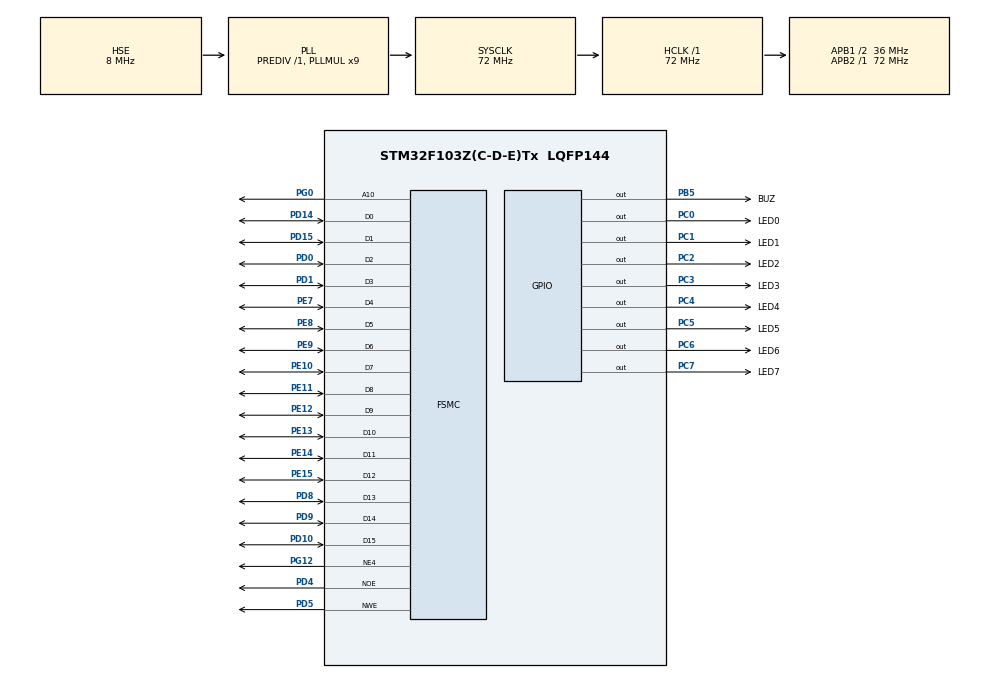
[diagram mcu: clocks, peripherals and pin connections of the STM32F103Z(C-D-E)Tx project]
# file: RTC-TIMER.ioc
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FSMC.AddressSetupTime1=0x1
FSMC.BusTurnAroundDuration1=0x0
FSMC.DataSetupTime1=0xf
FSMC.ExtendedAddressSetupTime1=0x0
FSMC.ExtendedBusTurnAroundDuration1=0x0
FSMC.ExtendedDataSetupTime1=0x3
FSMC.ExtendedMode1=FSMC_EXTENDED_MODE_ENABLE
Mcu.Family=STM32F1
Mcu.Name=STM32F103Z(C-D-E)Tx
Mcu.Package=LQFP144
NVIC.PriorityGroup=NVIC_PRIORITYGROUP_4
NVIC.RTC_Alarm_IRQn=true\:0\:0\:false\:false\:true\:true\:true
NVIC.RTC_IRQn=true\:0\:0\:false\:false\:true\:true\:true
NVIC.TIM2_IRQn=true\:0\:0\:false\:false\:true\:true\:true
OSC_IN.Mode=HSE-External-Oscillator
OSC_IN.Signal=RCC_OSC_IN
OSC_OUT.Mode=HSE-External-Oscillator
OSC_OUT.Signal=RCC_OSC_OUT
PA13.Mode=Serial_Wire
PA13.Signal=SYS_JTMS-SWDIO
PA14.Mode=Serial_Wire
PA14.Signal=SYS_JTCK-SWCLK
PB5.GPIO_Label=BUZ
PB5.PinState=GPIO_PIN_RESET
PB5.Signal=GPIO_Output
PC0.GPIO_Label=LED0
PC0.GPIO_ModeDefaultOutputPP=GPIO_MODE_OUTPUT_PP
PC0.GPIO_PuPd=GPIO_NOPULL
PC0.GPIO_Speed=GPIO_SPEED_FREQ_LOW
PC0.PinState=GPIO_PIN_SET
PC0.Signal=GPIO_Output
PC1.GPIO_Label=LED1
PC1.GPIO_ModeDefaultOutputPP=GPIO_MODE_OUTPUT_PP
PC1.GPIO_PuPd=GPIO_NOPULL
PC1.GPIO_Speed=GPIO_SPEED_FREQ_LOW
PC1.PinState=GPIO_PIN_SET
PC1.Signal=GPIO_Output
PC14-OSC32_IN.Mode=LSE-External-Oscillator
PC14-OSC32_IN.Signal=RCC_OSC32_IN
PC15-OSC32_OUT.Mode=LSE-External-Oscillator
PC15-OSC32_OUT.Signal=RCC_OSC32_OUT
PC2.GPIO_Label=LED2
PC2.GPIO_ModeDefaultOutputPP=GPIO_MODE_OUTPUT_PP
PC2.GPIO_PuPd=GPIO_NOPULL
PC2.GPIO_Speed=GPIO_SPEED_FREQ_LOW
PC2.PinState=GPIO_PIN_SET
PC2.Signal=GPIO_Output
PC3.GPIO_Label=LED3
PC3.GPIO_ModeDefaultOutputPP=GPIO_MODE_OUTPUT_PP
PC3.GPIO_PuPd=GPIO_NOPULL
PC3.GPIO_Speed=GPIO_SPEED_FREQ_LOW
PC3.PinState=GPIO_PIN_SET
PC3.Signal=GPIO_Output
PC4.GPIO_Label=LED4
PC4.GPIO_ModeDefaultOutputPP=GPIO_MODE_OUTPUT_PP
PC4.GPIO_PuPd=GPIO_NOPULL
PC4.GPIO_Speed=GPIO_SPEED_FREQ_LOW
PC4.PinState=GPIO_PIN_SET
PC4.Signal=GPIO_Output
PC5.GPIO_Label=LED5
PC5.GPIO_ModeDefaultOutputPP=GPIO_MODE_OUTPUT_PP
PC5.GPIO_PuPd=GPIO_NOPULL
PC5.GPIO_Speed=GPIO_SPEED_FREQ_LOW
PC5.PinState=GPIO_PIN_SET
PC5.Signal=GPIO_Output
PC6.GPIO_Label=LED6
PC6.GPIO_ModeDefaultOutputPP=GPIO_MODE_OUTPUT_PP
PC6.GPIO_PuPd=GPIO_NOPULL
PC6.GPIO_Speed=GPIO_SPEED_FREQ_LOW
PC6.PinState=GPIO_PIN_SET
PC6.Signal=GPIO_Output
PC7.GPIO_Label=LED7
PC7.GPIO_ModeDefaultOutputPP=GPIO_MODE_OUTPUT_PP
PC7.GPIO_PuPd=GPIO_NOPULL
PC7.GPIO_Speed=GPIO_SPEED_FREQ_LOW
PC7.PinState=GPIO_PIN_SET
PC7.Signal=GPIO_Output
PD0.Signal=FSMC_D2_DA2
PD1.Signal=FSMC_D3_DA3
PD10.Signal=FSMC_D15_DA15
PD14.Signal=FSMC_D0_DA0
PD15.Signal=FSMC_D1_DA1
PD4.Signal=FSMC_NOE
PD5.Signal=FSMC_NWE
PD8.Signal=FSMC_D13_DA13
PD9.Signal=FSMC_D14_DA14
PE10.Signal=FSMC_D7_DA7
PE11.Signal=FSMC_D8_DA8
PE12.Signal=FSMC_D9_DA9
PE13.Signal=FSMC_D10_DA10
PE14.Signal=FSMC_D11_DA11
PE15.Signal=FSMC_D12_DA12
PE7.Signal=FSMC_D4_DA4
PE8.Signal=FSMC_D5_DA5
PE9.Signal=FSMC_D6_DA6
PG0.Signal=FSMC_A10
PG12.Mode=NorPsramChipSelect4_1
PG12.Signal=FSMC_NE4
ProjectManager.HeapSize=0x200
ProjectManager.StackSize=0x400
ProjectManager.TargetToolchain=MDK-ARM V5.27
RCC.AHBFreq_Value=72000000
RCC.APB1CLKDivider=RCC_HCLK_DIV2
RCC.APB1Freq_Value=36000000
RCC.APB1TimFreq_Value=72000000
RCC.APB2Freq_Value=72000000
RCC.APB2TimFreq_Value=72000000
RCC.HCLKFreq_Value=72000000
RCC.PLLMUL=RCC_PLL_MUL9
RCC.PLLSourceVirtual=RCC_PLLSOURCE_HSE
RCC.RTCClockSelection=RCC_RTCCLKSOURCE_LSE
RCC.SYSCLKFreq_VALUE=72000000
RCC.SYSCLKSource=RCC_SYSCLKSOURCE_PLLCLK
RCC.USBFreq_Value=72000000
RTC.AutoPrediv=RTC_AUTO_1_SECOND
RTC.Date=28
RTC.Format=RTC_FORMAT_BIN
RTC.Hours=14
RTC.Minutes=51
RTC.Month=RTC_MONTH_MARCH
RTC.Seconds=59
RTC.WeekDay=RTC_WEEKDAY_FRIDAY
RTC.Year=20
SH.FSMC_A10.0=FSMC_A10,A10_1
SH.FSMC_D0_DA0.0=FSMC_D0,16b-d1
SH.FSMC_D10_DA10.0=FSMC_D10,16b-d1
SH.FSMC_D11_DA11.0=FSMC_D11,16b-d1
SH.FSMC_D12_DA12.0=FSMC_D12,16b-d1
SH.FSMC_D13_DA13.0=FSMC_D13,16b-d1
SH.FSMC_D14_DA14.0=FSMC_D14,16b-d1
SH.FSMC_D15_DA15.0=FSMC_D15,16b-d1
SH.FSMC_D1_DA1.0=FSMC_D1,16b-d1
SH.FSMC_D2_DA2.0=FSMC_D2,16b-d1
SH.FSMC_D3_DA3.0=FSMC_D3,16b-d1
SH.FSMC_D4_DA4.0=FSMC_D4,16b-d1
SH.FSMC_D5_DA5.0=FSMC_D5,16b-d1
SH.FSMC_D6_DA6.0=FSMC_D6,16b-d1
SH.FSMC_D7_DA7.0=FSMC_D7,16b-d1
SH.FSMC_D8_DA8.0=FSMC_D8,16b-d1
SH.FSMC_D9_DA9.0=FSMC_D9,16b-d1
SH.FSMC_NOE.0=FSMC_NOE,Lcd1
SH.FSMC_NWE.0=FSMC_NWE,Lcd1
TIM2.AutoReloadPreload=TIM_AUTORELOAD_PRELOAD_ENABLE
TIM2.Period=720-1
TIM2.Prescaler=1000-1
VP_RTC_No_RTC_Output.Mode=RTC_OUT_NO
VP_RTC_VS_RTC_Activate.Mode=RTC_Enabled
VP_RTC_VS_RTC_Calendar.Mode=RTC_Calendar
VP_TIM2_VS_ClockSourceINT.Mode=Internal
board=custom

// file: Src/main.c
/* USER CODE BEGIN Header */
/**
  ******************************************************************************
  * @file           : main.c
  * @brief          : Main program body
  ******************************************************************************
  * @attention
  *
  * <h2><center>&copy; Copyright (c) 2020 STMicroelectronics.
  * All rights reserved.</center></h2>
  *
  * This software component is licensed by ST under BSD 3-Clause license,
  * the "License"; You may not use this file except in compliance with the
  * License. You may obtain a copy of the License at:
  *                        opensource.org/licenses/BSD-3-Clause
  *
  ******************************************************************************
  */
/* USER CODE END Header */

#include "main.h"
#include "rtc.h"
#include "tim.h"
#include "gpio.h"
#include "fsmc.h"

/* USER CODE BEGIN Includes */
#include "user_lcd.h"
#include "user_rtc.h"

/* USER CODE END Includes */

/* USER CODE BEGIN PV */
uint8_t beepFlag = 0;
/* USER CODE END PV */

void SystemClock_Config(void);

int main(void)
{

  /* MCU Configuration--------------------------------------------------------*/

  /* Reset of all peripherals, Initializes the Flash interface and the Systick. */
  HAL_Init();

  /* Configure the system clock */
  SystemClock_Config();

  /* Initialize all configured peripherals */
  MX_GPIO_Init();
  MX_FSMC_Init();
  MX_TIM2_Init();
  MX_RTC_Init();
  /* USER CODE BEGIN 2 */
	HAL_TIM_Base_Start_IT(&htim2);
	HAL_LCD_Init();
	USER_RTC_Init();

  /* USER CODE END 2 */

  /* Infinite loop */
  while (1)
  {

    /* USER CODE BEGIN 3 */
		RTC_TimeTypeDef mTime={0};
		RTC_DateTypeDef mDate={0};
		HAL_RTC_GetDate(&hrtc, &mDate, RTC_FORMAT_BIN);
		HAL_RTC_GetTime(&hrtc, &mTime, RTC_FORMAT_BIN);

		HAL_LCD_Printf(0,  5, 12, 1, "Dates:");
		HAL_LCD_Printf(0, 17, 12, 1, "  Year:20%d  Month:%d  Date:%d  Week:%d  ", mDate.Year, mDate.Month, mDate.Date, mDate.WeekDay);
		HAL_LCD_Printf(0, 29, 12, 1, "Times:");
		HAL_LCD_Printf(0, 41, 12, 1, "  Hour:%d  Minute:%d  Second:%d  ", mTime.Hours, mTime.Minutes, mTime.Seconds);

  }
  /* USER CODE END 3 */
}

void SystemClock_Config(void)
{
  RCC_OscInitTypeDef RCC_OscInitStruct = {0};
  RCC_ClkInitTypeDef RCC_ClkInitStruct = {0};
  RCC_PeriphCLKInitTypeDef PeriphClkInit = {0};

  /** Initializes the CPU, AHB and APB busses clocks
  */
  RCC_OscInitStruct.OscillatorType = RCC_OSCILLATORTYPE_HSE|RCC_OSCILLATORTYPE_LSE;
  RCC_OscInitStruct.HSEState = RCC_HSE_ON;
  RCC_OscInitStruct.HSEPredivValue = RCC_HSE_PREDIV_DIV1;
  RCC_OscInitStruct.LSEState = RCC_LSE_ON;
  RCC_OscInitStruct.HSIState = RCC_HSI_ON;
  RCC_OscInitStruct.PLL.PLLState = RCC_PLL_ON;
  RCC_OscInitStruct.PLL.PLLSource = RCC_PLLSOURCE_HSE;
  RCC_OscInitStruct.PLL.PLLMUL = RCC_PLL_MUL9;
  if (HAL_RCC_OscConfig(&RCC_OscInitStruct) != HAL_OK)
  {
    Error_Handler();
  }
  /** Initializes the CPU, AHB and APB busses clocks
  */
  RCC_ClkInitStruct.ClockType = RCC_CLOCKTYPE_HCLK|RCC_CLOCKTYPE_SYSCLK
                              |RCC_CLOCKTYPE_PCLK1|RCC_CLOCKTYPE_PCLK2;
  RCC_ClkInitStruct.SYSCLKSource = RCC_SYSCLKSOURCE_PLLCLK;
  RCC_ClkInitStruct.AHBCLKDivider = RCC_SYSCLK_DIV1;
  RCC_ClkInitStruct.APB1CLKDivider = RCC_HCLK_DIV2;
  RCC_ClkInitStruct.APB2CLKDivider = RCC_HCLK_DIV1;

  if (HAL_RCC_ClockConfig(&RCC_ClkInitStruct, FLASH_LATENCY_2) != HAL_OK)
  {
    Error_Handler();
  }
  PeriphClkInit.PeriphClockSelection = RCC_PERIPHCLK_RTC;
  PeriphClkInit.RTCClockSelection = RCC_RTCCLKSOURCE_LSE;
  if (HAL_RCCEx_PeriphCLKConfig(&PeriphClkInit) != HAL_OK)
  {
    Error_Handler();
  }
}

/* USER CODE BEGIN 4 */
void HAL_RTC_AlarmAEventCallback(RTC_HandleTypeDef *rtc)
{
	if(hrtc.Instance == rtc->Instance)
	{
		beepFlag=1;
	}

}
void HAL_TIM_PeriodElapsedCallback(TIM_HandleTypeDef *tim)
{
	if(htim2.Instance == tim->Instance)
	{
		static uint16_t i = 0;
		static uint16_t j = 0;

		if(++i == 50)
		{
			i = 0;
			if(beepFlag == 1)
				HAL_GPIO_TogglePin(LED7_GPIO_Port, LED7_Pin);
			else
				HAL_GPIO_WritePin(LED7_GPIO_Port, LED7_Pin, GPIO_PIN_SET);
		}

		if(++j == 6000)
		{
			j = 0;
			if(beepFlag == 1)
			beepFlag = 0;
		}
		if(beepFlag == 0)
			j = 0;
	}
}
/* USER CODE END 4 */

void Error_Handler(void)
{
}

/************************ (C) COPYRIGHT STMicroelectronics *****END OF FILE****/
